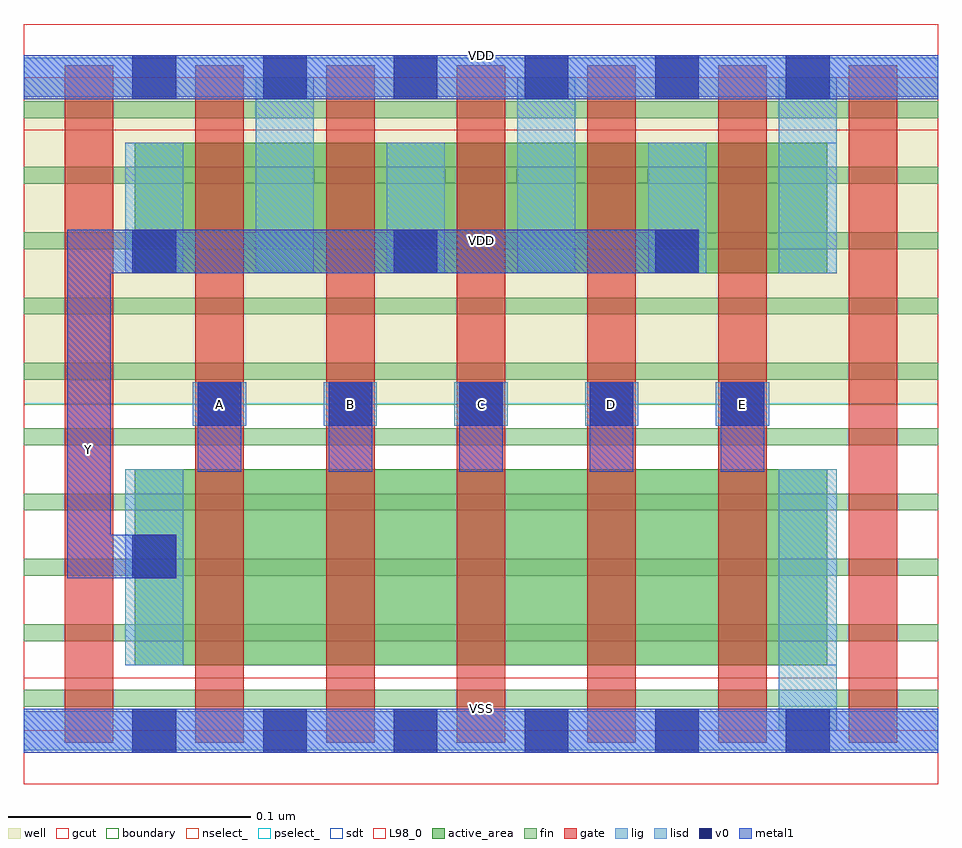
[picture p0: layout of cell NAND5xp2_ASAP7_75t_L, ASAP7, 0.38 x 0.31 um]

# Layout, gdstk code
import gdstk
lib = gdstk.Library(unit=1e-6, precision=2.5e-10)
def R(c, l, rs):  # rectangles x0, y0, x1, y1
    for r in rs: c.add(gdstk.rectangle(r[:2], r[2:], *l))
def A(c, l, x, y, w, h, nx, ny, dx, dy):  # array of equal rectangles
    R(c, l, [(x+i*dx, y+j*dy, x+i*dx+w, y+j*dy+h) for i in range(nx) for j in range(ny)])
def P(c, l, *ps):  # polygons
    for p in ps: c.add(gdstk.Polygon(p, *l))
well = (1, 0)
fin = (2, 0)
gate = (7, 0)
gcut = (10, 0)
active_area = (11, 0)
nselect_ = (12, 0)
pselect_ = (13, 0)
lig = (16, 0)
lisd = (17, 0)
v0 = (18, 0)
metal1 = (19, 0)
sdt = (88, 0)
L98_0 = (98, 0)
boundary = (100, 0)

nand5xp2_asap7_75t_l = lib.new_cell('NAND5xp2_ASAP7_75t_L')
R(nand5xp2_asap7_75t_l, well, [(0,0.135,0.378,0.27)])
A(nand5xp2_asap7_75t_l, fin, 0, 0.01, 0.378, 0.007, 1, 10, 0, 0.027)
A(nand5xp2_asap7_75t_l, gate, 0.017, -0.005, 0.02, 0.28, 7, 1, 0.054, 0)
R(nand5xp2_asap7_75t_l, gcut, [(0,-0.022,0.378,0.022), (0,0.248,0.378,0.292)])
R(nand5xp2_asap7_75t_l, active_area, [(0.046,0.027,0.332,0.108), (0.046,0.189,0.332,0.243)])
R(nand5xp2_asap7_75t_l, nselect_, [(0,0,0.378,0.135)])
R(nand5xp2_asap7_75t_l, pselect_, [(0,0.135,0.378,0.27)])
A(nand5xp2_asap7_75t_l, lig, 0.07, 0.126, 0.022, 0.018, 5, 1, 0.054, 0)
R(nand5xp2_asap7_75t_l, lig, [(0,-0.008,0.378,0.008), (0,0.262,0.378,0.278)])
A(nand5xp2_asap7_75t_l, lisd, 0.042, 0.189, 0.024, 0.054, 3, 1, 0.108, 0)
R(nand5xp2_asap7_75t_l, lisd, [(0.312,0,0.336,0.108), (0.312,0,0.336,0.108), (0.042,0.027,0.066,0.108), (0.096,0.189,0.12,0.27), (0.096,0.189,0.12,0.27), (0.204,0.189,0.228,0.27), (0.204,0.189,0.228,0.27), (0.312,0.189,0.336,0.27), (0.312,0.189,0.336,0.27)])
A(nand5xp2_asap7_75t_l, v0, 0.045, -0.009, 0.018, 0.018, 6, 2, 0.054, 0.27)
A(nand5xp2_asap7_75t_l, v0, 0.072, 0.126, 0.018, 0.018, 5, 1, 0.054, 0)
A(nand5xp2_asap7_75t_l, v0, 0.045, 0.189, 0.018, 0.018, 3, 1, 0.108, 0)
R(nand5xp2_asap7_75t_l, v0, [(0.045,0.063,0.063,0.081)])
A(nand5xp2_asap7_75t_l, metal1, 0.072, 0.107, 0.018, 0.037, 5, 1, 0.054, 0)
A(nand5xp2_asap7_75t_l, metal1, 0.072, 0.126, 0.018, 0.018, 5, 1, 0.054, 0)
A(nand5xp2_asap7_75t_l, metal1, 0.045, 0.189, 0.018, 0.018, 3, 1, 0.108, 0)
R(nand5xp2_asap7_75t_l, metal1, [(0,-0.009,0.378,0.009), (0.045,0.063,0.063,0.081), (0,0.261,0.378,0.279)])
P(nand5xp2_asap7_75t_l, metal1, [(0.279,0.207),(0.018,0.207),(0.018,0.063),(0.063,0.063),(0.063,0.081),(0.036,0.081),(0.036,0.189),(0.279,0.189)])
A(nand5xp2_asap7_75t_l, sdt, 0.096, 0.189, 0.024, 0.054, 3, 1, 0.054, 0)
A(nand5xp2_asap7_75t_l, sdt, 0.204, 0.189, 0.024, 0.054, 3, 1, 0.054, 0)
R(nand5xp2_asap7_75t_l, sdt, [(0.042,0.027,0.066,0.108), (0.312,0.027,0.336,0.108), (0.312,0.027,0.336,0.108), (0.042,0.189,0.066,0.243), (0.096,0.189,0.12,0.243), (0.312,0.189,0.336,0.243)])
R(nand5xp2_asap7_75t_l, L98_0, [(0,0,0.378,0.27)])
R(nand5xp2_asap7_75t_l, boundary, [(0,0,0.378,0.27)])
nand5xp2_asap7_75t_l.add(gdstk.Label('VDD', (0.189,0.2025), layer=1, texttype=251))
nand5xp2_asap7_75t_l.add(gdstk.Label('VSS', (0.189,-0.0675), layer=3, texttype=251))
nand5xp2_asap7_75t_l.add(gdstk.Label('VSS', (0.189,0.009), layer=19, texttype=251))
nand5xp2_asap7_75t_l.add(gdstk.Label('VDD', (0.189,0.279), layer=19, texttype=251))
nand5xp2_asap7_75t_l.add(gdstk.Label('Y', (0.027,0.116), layer=19, texttype=251))
nand5xp2_asap7_75t_l.add(gdstk.Label('A', (0.081,0.135), layer=19, texttype=251))
nand5xp2_asap7_75t_l.add(gdstk.Label('B', (0.135,0.135), layer=19, texttype=251))
nand5xp2_asap7_75t_l.add(gdstk.Label('C', (0.189,0.135), layer=19, texttype=251))
nand5xp2_asap7_75t_l.add(gdstk.Label('D', (0.243,0.135), layer=19, texttype=251))
nand5xp2_asap7_75t_l.add(gdstk.Label('E', (0.297,0.135), layer=19, texttype=251))

lib.write_gds('NAND5xp2_ASAP7_75t_L.gds')
